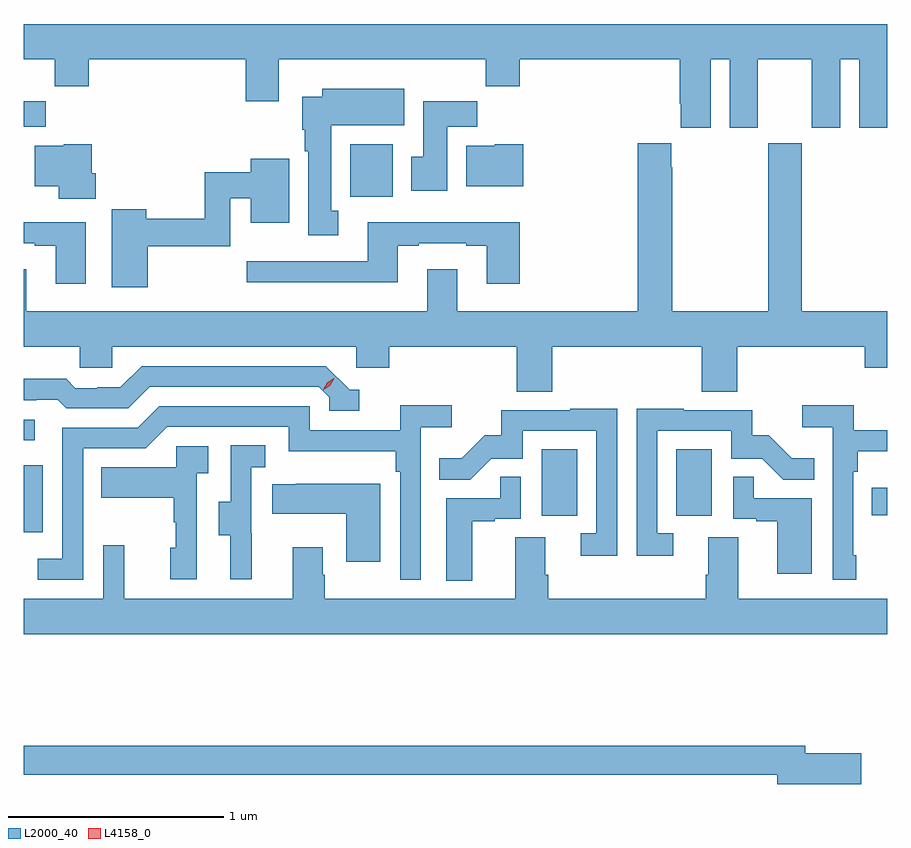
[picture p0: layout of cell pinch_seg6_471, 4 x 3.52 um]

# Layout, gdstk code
import gdstk
lib = gdstk.Library(unit=1e-6, precision=1e-09)
def R(c, l, rs):  # rectangles x0, y0, x1, y1
    for r in rs: c.add(gdstk.rectangle(r[:2], r[2:], *l))
def P(c, l, *ps):  # polygons
    for p in ps: c.add(gdstk.Polygon(p, *l))
L2000_40 = (2000, 40)
L4158_0 = (4158, 0)

pinch_seg6_471 = lib.new_cell('pinch_seg6_471')
R(pinch_seg6_471, L2000_40, [(852.716,926.496,852.804,926.806), (855.116,926.574,855.28,926.881), (855.74,926.574,855.904,926.881), (856.645,926.575,856.716,926.704), (852.716,926.922,852.766,927.018), (854.228,928.052,854.425,928.294), (852.716,928.376,852.818,928.494)])
P(pinch_seg6_471, L2000_40, [(852.716,928.688),(852.859,928.688),(852.859,928.564),(853.016,928.564),(853.016,928.688),(853.745,928.688),(853.745,928.494),(853.897,928.494),(853.897,928.688),(854.857,928.688),(854.857,928.564),(855.014,928.564),(855.014,928.688),(855.755,928.688),(855.755,928.483),(855.761,928.483),(855.761,928.371),(855.898,928.371),(855.898,928.688),(855.986,928.688),(855.986,928.371),(856.117,928.371),(856.117,928.688),(856.367,928.688),(856.367,928.371),(856.498,928.371),(856.498,928.688),(856.586,928.688),(856.586,928.371),(856.716,928.371),(856.716,928.852),(852.716,928.852)],
  [(854.173,927.986),(854.14,927.986),(854.14,928.382),(854.479,928.382),(854.479,928.552),(854.099,928.552),(854.099,928.516),(854.006,928.516),(854.006,928.362),(854.018,928.362),(854.018,928.262),(854.033,928.262),(854.033,927.873),(854.173,927.873)],
  [(854.677,928.376),(854.816,928.376),(854.816,928.494),(854.567,928.494),(854.567,928.236),(854.51,928.236),(854.51,928.08),(854.677,928.08)],
  [(855.164,927.356),(855.857,927.356),(855.857,927.148),(856.022,927.148),(856.022,927.356),(856.613,927.356),(856.613,927.258),(856.716,927.258),(856.716,927.52),(856.32,927.52),(856.32,928.3),(856.165,928.3),(856.165,927.52),(855.72,927.52),(855.72,928.187),(855.715,928.187),(855.715,928.3),(855.56,928.3),(855.56,927.52),(854.725,927.52),(854.725,927.715),(854.585,927.715),(854.585,927.52),(852.727,927.52),(852.727,927.715),(852.716,927.715),(852.716,927.356),(852.975,927.356),(852.975,927.258),(853.125,927.258),(853.125,927.356),(854.256,927.356),(854.256,927.258),(854.408,927.258),(854.408,927.356),(854.999,927.356),(854.999,927.148),(855.164,927.148)],
  [(855.029,928.294),(854.898,928.294),(854.898,928.288),(854.765,928.288),(854.765,928.1),(855.029,928.1)],
  [(853.049,928.161),(853.031,928.161),(853.031,928.294),(852.9,928.294),(852.9,928.288),(852.767,928.288),(852.767,928.1),(852.878,928.1),(852.878,928.043),(853.049,928.043)],
  [(853.29,927.822),(853.671,927.822),(853.671,928.044),(853.766,928.044),(853.766,927.932),(853.945,927.932),(853.945,928.228),(853.766,928.228),(853.766,928.165),(853.555,928.165),(853.555,927.95),(853.282,927.95),(853.282,927.994),(853.124,927.994),(853.124,927.633),(853.29,927.633)],
  [(853.003,927.934),(852.716,927.934),(852.716,927.837),(852.767,927.837),(852.767,927.825),(852.863,927.825),(852.863,927.648),(853.003,927.648)],
  [(855.014,927.934),(854.309,927.934),(854.309,927.753),(853.749,927.753),(853.749,927.656),(854.449,927.656),(854.449,927.825),(854.545,927.825),(854.545,927.837),(854.765,927.837),(854.765,927.825),(854.861,927.825),(854.861,927.648),(855.014,927.648)],
  [(854.269,927.156),(854.226,927.156),(854.115,927.267),(853.262,927.267),(853.163,927.168),(853.056,927.168),(853.056,927.165),(852.953,927.165),(852.911,927.208),(852.716,927.208),(852.716,927.108),(852.773,927.108),(852.773,927.111),(852.872,927.111),(852.911,927.072),(853.2,927.072),(853.299,927.171),(854.082,927.171),(854.13,927.123),(854.13,927.06),(854.269,927.06)],
  [(852.99,926.886),(853.281,926.886),(853.38,926.985),(853.944,926.985),(853.944,926.873),(854.44,926.873),(854.44,926.777),(854.46,926.777),(854.46,926.277),(854.556,926.277),(854.556,926.984),(854.698,926.984),(854.698,927.086),(854.459,927.086),(854.459,926.97),(854.04,926.97),(854.04,927.081),(853.343,927.081),(853.244,926.982),(852.894,926.982),(852.894,926.373),(852.781,926.373),(852.781,926.277),(852.99,926.277)],
  [(856.573,926.389),(856.56,926.389),(856.56,926.777),(856.58,926.777),(856.58,926.873),(856.716,926.873),(856.716,926.97),(856.562,926.97),(856.562,927.086),(856.323,927.086),(856.323,926.984),(856.464,926.984),(856.464,926.277),(856.573,926.277)],
  [(855.465,927.068),(855.247,927.068),(855.247,927.063),(854.929,927.063),(854.929,926.946),(854.852,926.946),(854.745,926.839),(854.641,926.839),(854.641,926.74),(854.784,926.74),(854.882,926.838),(855.027,926.838),(855.027,926.967),(855.369,926.967),(855.369,926.493),(855.297,926.493),(855.297,926.388),(855.465,926.388)],
  [(855.724,926.493),(855.651,926.493),(855.651,926.967),(855.993,926.967),(855.993,926.838),(856.137,926.838),(856.235,926.74),(856.379,926.74),(856.379,926.839),(856.275,926.839),(856.168,926.946),(856.092,926.946),(856.092,927.063),(855.773,927.063),(855.773,927.068),(855.555,927.068),(855.555,926.388),(855.724,926.388)],
  [(853.772,926.493),(853.77,926.493),(853.77,926.797),(853.834,926.797),(853.834,926.9),(853.674,926.9),(853.674,926.637),(853.619,926.637),(853.619,926.482),(853.673,926.482),(853.673,926.28),(853.772,926.28)],
  [(853.518,926.771),(853.57,926.771),(853.57,926.895),(853.422,926.895),(853.422,926.797),(853.075,926.797),(853.075,926.657),(853.41,926.657),(853.41,926.543),(853.42,926.543),(853.42,926.424),(853.394,926.424),(853.394,926.28),(853.518,926.28)],
  [(856.366,926.655),(856.097,926.655),(856.097,926.753),(856.002,926.753),(856.002,926.559),(856.109,926.559),(856.109,926.547),(856.208,926.547),(856.208,926.304),(856.366,926.304)],
  [(854.794,926.547),(854.897,926.547),(854.897,926.559),(855.018,926.559),(855.018,926.753),(854.923,926.753),(854.923,926.655),(854.672,926.655),(854.672,926.273),(854.794,926.273)],
  [(854.368,926.722),(853.975,926.722),(853.975,926.719),(853.867,926.719),(853.867,926.582),(854.21,926.582),(854.21,926.361),(854.368,926.361)],
  [(856.716,926.188),(856.027,926.188),(856.027,926.474),(855.887,926.474),(855.887,926.3),(855.875,926.3),(855.875,926.188),(855.146,926.188),(855.146,926.3),(855.133,926.3),(855.133,926.474),(854.993,926.474),(854.993,926.188),(854.109,926.188),(854.109,926.3),(854.101,926.3),(854.101,926.428),(853.961,926.428),(853.961,926.188),(853.181,926.188),(853.181,926.437),(853.083,926.437),(853.083,926.188),(852.716,926.188),(852.716,926.024),(856.716,926.024)],
  [(856.597,925.472),(856.336,925.472),(856.336,925.508),(852.716,925.508),(852.716,925.372),(856.208,925.372),(856.208,925.33),(856.597,925.33)])
P(pinch_seg6_471, L4158_0, [(854.104,927.158),(854.104,927.158),(854.121,927.19),(854.152,927.21),(854.153,927.21),(854.153,927.21),(854.136,927.177),(854.105,927.158)])

lib.write_gds('pinch_seg6_471.gds')
